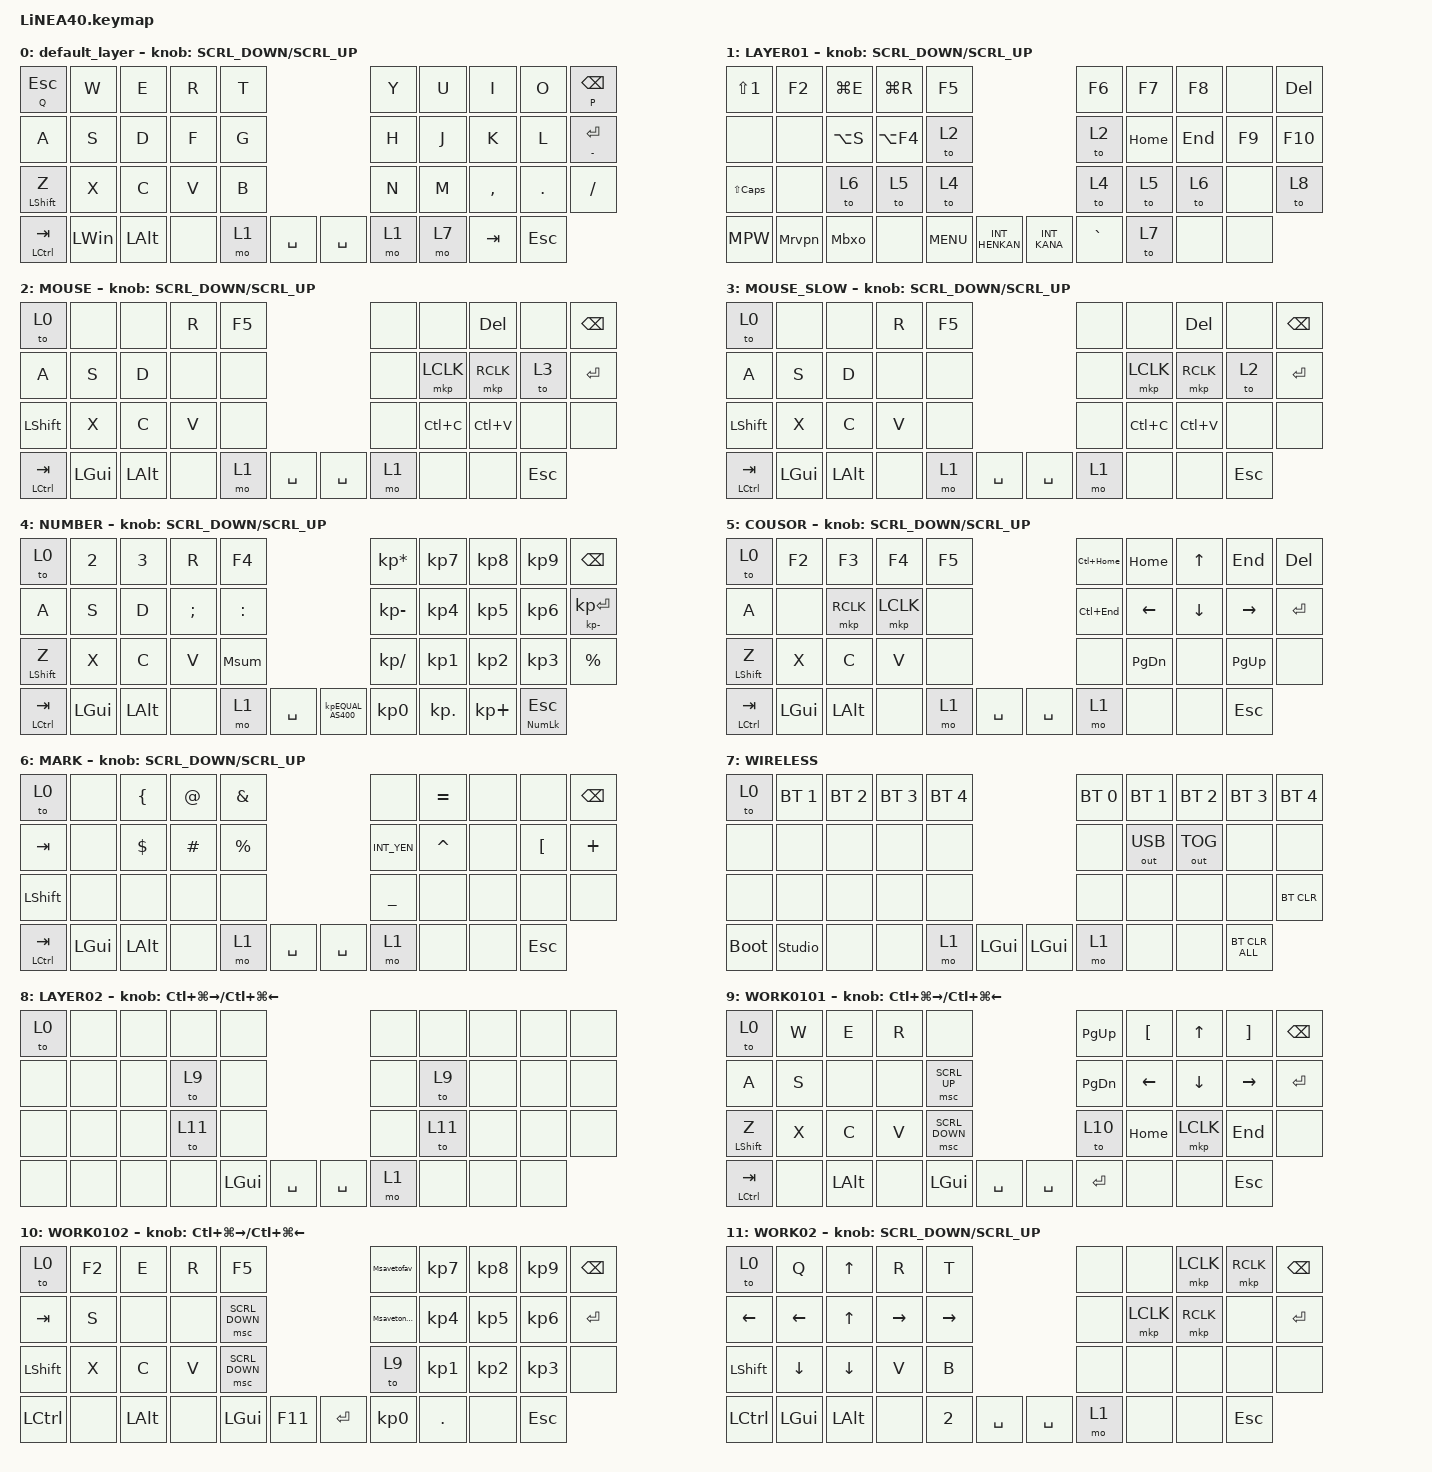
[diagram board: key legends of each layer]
#define ZMK_POINTING_DEFAULT_SCRL_VAL 150

#include <dt-bindings/zmk/input_transform.h>
#include <input/processors.dtsi>
#include <zephyr/dt-bindings/input/input-event-codes.h>
#include <behaviors.dtsi>
#include <dt-bindings/zmk/bt.h>
#include <dt-bindings/zmk/keys.h>
#include <dt-bindings/zmk/outputs.h>
#include <dt-bindings/zmk/pointing.h>

#define MOUSE 1
#define MARK 2
#define CURSOR 3
#define FUNCTION 4
#define SCROLL 5
#define WIRELESS 6

//mouse cursol

&mmv {
    delay-ms = <20>;
    trigger-period-ms = <5>;
    time-to-max-speed-ms = <100>;
    acceleration-exponent = <2>;
};

//mouse scroll

&msc {
    delay-ms = <3>;
    trigger-period-ms = <3>;
    time-to-max-speed-ms = <100>;
    acceleration-exponent = <0>;
};

/ {
    input_processors {
        zip_wheel_scaler: zip_wheel_scaler {
            compatible = "zmk,input-processor-scaler";
            #input-processor-cells = <2>;
            type = <INPUT_EV_REL>;
            codes = <INPUT_REL_WHEEL>;
            track-remainders;
        };
    };
};

&msc_input_listener {
    speed_up {
        layers = <1>;
        input-processors = <&zip_wheel_scaler 3 1>;
    };
};

&trackball_listener {
    input-processors = <&zip_xy_scaler 2 1>;  // 通常 2.0
    layer1_slow {
        layers = <1>;
        input-processors = <&zip_xy_scaler 2 5>;  // LAYER01 = 0.4
    };

    layer2_mouse {
        layers = <2>;
        input-processors = <&zip_xy_scaler 2 1>;  // MOUSE = 2.0
    };

    layer4_slow {
        layers = <3>;
        input-processors = <&zip_xy_scaler 1 10>;  // MOUSE_SLOW = 0.1
    };
};

/ {
    combos {
        compatible = "zmk,combos";

        LeftClick {
            bindings = <&mkp MB1>;
            key-positions = <16 15>;
        };

        RightClick {
            bindings = <&mkp MB2>;
            key-positions = <17 16>;
        };

        k-open01 {
            bindings = <&kp N8>;
            key-positions = <3 13>;
        };

        k-close01 {
            bindings = <&kp LEFT_PARENTHESIS>;
            key-positions = <6 16>;
        };

        k-open02 {
            bindings = <&kp RIGHT_PARENTHESIS>;
            key-positions = <13 23>;
        };

        k-close02 {
            bindings = <&kp MINUS>;
            key-positions = <16 26>;
        };

        l-enter {
            bindings = <&kp ENTER>;
            key-positions = <30 31>;
        };

        up {
            bindings = <&kp UP_ARROW>;
            key-positions = <27 28 29>;
        };

        down {
            bindings = <&kp DOWN_ARROW>;
            key-positions = <38 39 40>;
        };

        left {
            bindings = <&kp LEFT>;
            key-positions = <27 38>;
        };

        right {
            bindings = <&kp RIGHT>;
            key-positions = <29 40>;
        };

        Sedit {
            bindings = <&MSedit>;
            key-positions = <16 17 18 36>;
        };

        cut {
            bindings = <&kp LC(X)>;
            key-positions = <6 7 8>;
        };
    };

    behaviors {
        re_kp: sensor_rotate_kp {
            compatible = "zmk,behavior-sensor-rotate-var";
            #sensor-binding-cells = <2>;
            bindings = <&kp>, <&kp>;
        };

        mouse_scrl: mouse_wheel_scrl {
            compatible = "zmk,behavior-sensor-rotate-var";
            #sensor-binding-cells = <2>;
            bindings = <&msc>, <&msc>;

            tap-ms = <20>;
        };
    };

    macros {
        MPW: M01PW {
            compatible = "zmk,behavior-macro";
            #binding-cells = <0>;
            bindings = <&kp S &kp H &kp O &kp W &kp N2 &kp N4 &kp N5 &kp N6 &kp G &kp U &kp Y &kp ENTER>;
            label = "M01PW";
        };

        Mrvpn: M02rvpn {
            compatible = "zmk,behavior-macro";
            #binding-cells = <0>;
            bindings =
                <&kp LEFT_GUI>,
                <&macro_wait_time 800>,
                <&kp TAB &kp TAB &kp DOWN_ARROW &kp RIGHT &kp RIGHT &kp ENTER>,
                <&macro_wait_time 800>,
                <&kp N1 &kp N0 &kp DOT &kp N1 &kp N8 &kp N9 &kp DOT &kp N2 &kp N1 &kp N4 &kp DOT &kp N1 &kp N5 &kp N5>,
                <&macro_wait_time 400>,
                <&kp LA(N)>,
                <&macro_wait_time 1000>,
                <&kp LA(N)>,
                <&macro_wait_time 1000>,
                <&kp R &kp V &kp P &kp N &kp BSLH &kp N4 &kp N0 &kp N8 &kp N0 &kp N5 &kp N5 &kp N3 &kp TAB &kp S &kp H &kp O &kp W &kp N2 &kp N4 &kp N5 &kp N6 &kp G &kp U &kp Y &kp ENTER>;

            label = "M02RVPN";
        };

        Mbxo: M03bxo {
            compatible = "zmk,behavior-macro";
            #binding-cells = <0>;
            bindings =
                <&kp LA(TAB)>,
                <&macro_wait_time 200>,
                <&kp LA(TAB)>,
                <&macro_wait_time 200>,
                <&kp B &kp X &kp O &kp BSLH &kp N4 &kp N0 &kp N8 &kp N0 &kp N5 &kp N5 &kp N3 &kp TAB &kp S &kp H &kp O &kp W &kp N2 &kp N4 &kp N5 &kp N6 &kp G &kp U &kp Y>;

            label = "M03BXO";
        };

        Msum: M04sum {
            compatible = "zmk,behavior-macro";
            #binding-cells = <0>;
            bindings =
                <&kp INT_KANA &kp LANG_ZENKAKUHANKAKU &kp S &kp U &kp M &kp LPAR &kp RPAR &kp ENTER>,
                <&macro_wait_time 200>,
                <&kp LEFT>;

            label = "M04SUM";
        };

        Mroundup: M05roundup {
            compatible = "zmk,behavior-macro";
            #binding-cells = <0>;
            bindings =
                <&kp INT_KANA &kp LANG_ZENKAKUHANKAKU &kp R &kp O &kp U &kp N &kp D &kp U &kp P &kp LPAR &kp RPAR &kp ENTER>,
                <&macro_wait_time 200>,
                <&kp LEFT>;

            label = "M05ROUNDUP";
        };

        MSedit: M06Sedit {
            compatible = "zmk,behavior-macro";
            #binding-cells = <0>;
            bindings =
                <&kp LC(S) &kp LC(END) &kp E &kp D &kp I &kp T &kp DOT>,
                <&macro_wait_time 400>,
                <&to 10>;

            label = "M06SEDIT";
        };

        Msavetofav: Msavetofav {
            compatible = "zmk,behavior-macro";
            #binding-cells = <0>;
            bindings =
                <&kp F4 &kp LC(A) &kp LS(D) &kp COLON &kp BSLH &kp KP_NUMBER_0 &kp KP_NUMBER_2 &kp DOT &kp T &kp H &kp U &kp M &kp B &kp N &kp A &kp I &kp L &kp BSLH &kp KP_NUMBER_0 &kp KP_NUMBER_1 &kp DOT &kp M &kp O &kp V &kp E &kp T &kp O &kp F &kp A &kp V &kp ENTER &kp LA(S)>,
                <&macro_wait_time 400>,
                <&to 9>;

            label = "MSAVETOFAV";
        };

        Msavetonotfav: Msavetonotfav {
            compatible = "zmk,behavior-macro";
            #binding-cells = <0>;
            bindings =
                <&kp F4 &kp LC(A) &kp LS(D) &kp COLON &kp BSLH &kp KP_NUMBER_0 &kp KP_NUMBER_2 &kp PERIOD &kp T &kp H &kp U &kp M &kp B &kp N &kp A &kp I &kp L &kp BSLH &kp KP_NUMBER_0 &kp KP_NUMBER_2 &kp DOT &kp M &kp O &kp V &kp E &kp T &kp O &kp A &kp R &kp C &kp H &kp I &kp V &kp E &kp ENTER &kp LA(S)>,
                <&macro_wait_time 400>,
                <&to 9>;

            label = "MSAVETONOTFAV";
        };
    };

    keymap {
        compatible = "zmk,keymap";

        default_layer {
            bindings = <
&mt Q ESCAPE      &kp W         &kp E         &kp R  &kp T                          &kp Y  &kp U  &kp I      &kp O    &mt P BACKSPACE
&kp A             &kp S         &kp D         &kp F  &kp G                          &kp H  &kp J  &kp K      &kp L    &mt MINUS ENTER
&mt LEFT_SHIFT Z  &kp X         &kp C         &kp V  &kp B                          &kp N  &kp M  &kp COMMA  &kp DOT  &kp SLASH
&mt LCTRL TAB     &kp LEFT_WIN  &kp LEFT_ALT  &none  &mo 1  &kp SPACE    &kp SPACE  &mo 1         &mo 7      &kp TAB  &kp ESCAPE
            >;

            sensor-bindings = <&mouse_scrl SCRL_DOWN SCRL_UP>;
        };

        LAYER01 {
            bindings = <
&kp LS(NUMBER_1)  &kp F2  &kp LG(E)  &kp LG(R)   &kp F5                                      &kp F6     &kp F7    &kp F8   &none   &kp DELETE
&none             &none   &kp LA(S)  &kp LA(F4)  &to 2                                       &to 2      &kp HOME  &kp END  &kp F9  &kp F10
&kp LS(CAPSLOCK)  &none   &to 6      &to 5       &to 4                                       &to 4      &to 5     &to 6    &none   &to 8
&MPW              &Mrvpn  &Mbxo      &none       &kp C_MENU  &kp INT_HENKAN    &kp INT_KANA  &kp GRAVE            &to 7    &none   &none
            >;

            sensor-bindings = <&mouse_scrl SCRL_DOWN SCRL_UP>;
        };

        MOUSE {
            bindings = <
&to 0           &none         &none         &kp R  &kp F5                          &none  &none      &kp DELETE  &none  &kp BACKSPACE
&kp A           &kp S         &kp D         &none  &none                           &none  &mkp LCLK  &mkp RCLK   &to 3  &kp ENTER
&kp LEFT_SHIFT  &kp X         &kp C         &kp V  &none                           &none  &kp LC(C)  &kp LC(V)   &none  &none
&mt LCTRL TAB   &kp LEFT_GUI  &kp LEFT_ALT  &none  &mo 1   &kp SPACE    &kp SPACE  &mo 1             &none       &none  &kp ESCAPE
            >;

            sensor-bindings = <&mouse_scrl SCRL_DOWN SCRL_UP>;
        };

        MOUSE_SLOW {
            bindings = <
&to 0           &none         &none         &kp R  &kp F5                          &none  &none      &kp DELETE  &none  &kp BACKSPACE
&kp A           &kp S         &kp D         &none  &none                           &none  &mkp LCLK  &mkp RCLK   &to 2  &kp ENTER
&kp LEFT_SHIFT  &kp X         &kp C         &kp V  &none                           &none  &kp LC(C)  &kp LC(V)   &none  &none
&mt LCTRL TAB   &kp LEFT_GUI  &kp LEFT_ALT  &none  &mo 1   &kp SPACE    &kp SPACE  &mo 1             &none       &none  &kp ESCAPE
            >;

            sensor-bindings = <&mouse_scrl SCRL_DOWN SCRL_UP>;
        };

        NUMBER {
            bindings = <
&to 0             &kp NUMBER_2  &kp NUMBER_3  &kp R          &kp F4                                      &kp KP_ASTERISK  &kp KP_NUMBER_7  &kp KP_NUMBER_8  &kp KP_NUMBER_9  &kp BACKSPACE
&kp A             &kp S         &kp D         &kp SEMICOLON  &kp COLON                                   &kp KP_MINUS     &kp KP_NUMBER_4  &kp KP_NUMBER_5  &kp KP_NUMBER_6  &mt KP_MINUS KP_ENTER
&mt LEFT_SHIFT Z  &kp X         &kp C         &kp V          &Msum                                       &kp KP_SLASH     &kp KP_NUMBER_1  &kp KP_NUMBER_2  &kp KP_NUMBER_3  &kp PERCENT
&mt LCTRL TAB     &kp LEFT_GUI  &kp LEFT_ALT  &none          &mo 1      &kp SPACE    &kp KP_EQUAL_AS400  &kp KP_NUMBER_0                   &kp KP_DOT       &kp KP_PLUS      &mt KP_NUMLOCK ESCAPE
            >;

            sensor-bindings = <&mouse_scrl SCRL_DOWN SCRL_UP>;
        };

        COUSOR {
            bindings = <
&to 0                 &kp F2        &kp F3        &kp F4     &kp F5                          &kp LC(HOME)  &kp HOME       &kp UP    &kp END      &kp DEL
&kp A                 &none         &mkp RCLK     &mkp LCLK  &none                           &kp LC(END)   &kp LEFT       &kp DOWN  &kp RIGHT    &kp ENTER
&mt LEFT_SHIFT Z      &kp X         &kp C         &kp V      &none                           &none         &kp PAGE_DOWN  &none     &kp PAGE_UP  &none
&mt LEFT_CONTROL TAB  &kp LEFT_GUI  &kp LEFT_ALT  &none      &mo 1   &kp SPACE    &kp SPACE  &mo 1                        &none     &none        &kp ESCAPE
            >;

            sensor-bindings = <&mouse_scrl SCRL_DOWN SCRL_UP>;
        };

        MARK {
            bindings = <
&to 0           &none         &kp LEFT_BRACE  &kp AT_SIGN  &kp AMPERSAND                          &none           &kp EQUAL  &none  &none             &kp BACKSPACE
&kp TAB         &none         &kp DOLLAR      &kp HASH     &kp PERCENT                            &kp INT_YEN     &kp CARET  &none  &kp LEFT_BRACKET  &kp PLUS
&kp LEFT_SHIFT  &none         &none           &none        &none                                  &kp UNDERSCORE  &none      &none  &none             &none
&mt LCTRL TAB   &kp LEFT_GUI  &kp LEFT_ALT    &none        &mo 1          &kp SPACE    &kp SPACE  &mo 1                      &none  &none             &kp ESCAPE
            >;

            sensor-bindings = <&mouse_scrl SCRL_DOWN SCRL_UP>;
        };

        WIRELESS {
            bindings = <
&to 0        &bt BT_SEL 1    &bt BT_SEL 2  &bt BT_SEL 3  &bt BT_SEL 4                                &bt BT_SEL 0  &bt BT_SEL 1  &bt BT_SEL 2  &bt BT_SEL 3  &bt BT_SEL 4
&none        &none           &none         &none         &none                                       &none         &out OUT_USB  &out OUT_TOG  &none         &none
&none        &none           &none         &none         &none                                       &none         &none         &none         &none         &bt BT_CLR
&bootloader  &studio_unlock  &none         &none         &mo 1         &kp LEFT_GUI    &kp LEFT_GUI  &mo 1                       &none         &none         &bt BT_CLR_ALL
            >;
        };

        LAYER02 {
            bindings = <
&to 0  &none  &none  &none   &none                                 &none  &none   &none  &none  &none
&none  &none  &none  &to 9   &none                                 &none  &to 9   &none  &none  &none
&none  &none  &none  &to 11  &none                                 &none  &to 11  &none  &none  &none
&none  &none  &none  &none   &kp LEFT_GUI  &kp SPACE    &kp SPACE  &mo 1          &none  &none  &none
            >;

            sensor-bindings = <&inc_dec_kp LC(LG(RIGHT)) LC(LG(LEFT))>;
        };

        WORK0101 {
            bindings = <
&to 0             &kp W  &kp E         &kp R  &none                                   &kp PAGE_UP    &kp LEFT_BRACKET  &kp UP_ARROW    &kp RIGHT_BRACKET  &kp BACKSPACE
&kp A             &kp S  &none         &none  &msc SCRL_UP                            &kp PAGE_DOWN  &kp LEFT          &kp DOWN_ARROW  &kp RIGHT          &kp ENTER
&mt LEFT_SHIFT Z  &kp X  &kp C         &kp V  &msc SCRL_DOWN                          &to 10         &kp HOME          &mkp LCLK       &kp END            &none
&mt LCTRL TAB     &none  &kp LEFT_ALT  &none  &kp LEFT_GUI    &kp SPACE    &kp SPACE  &kp ENTER                        &none           &none              &kp ESCAPE
            >;

            sensor-bindings = <&inc_dec_kp LC(LG(RIGHT)) LC(LG(LEFT))>;
        };

        WORK0102 {
            bindings = <
&to 0           &kp F2  &kp E         &kp R  &kp F5                                &Msavetofav      &kp KP_NUMBER_7  &kp KP_NUMBER_8  &kp KP_NUMBER_9  &kp BACKSPACE
&kp TAB         &kp S   &none         &none  &msc SCRL_DOWN                        &Msavetonotfav   &kp KP_NUMBER_4  &kp KP_NUMBER_5  &kp KP_NUMBER_6  &kp ENTER
&kp LEFT_SHIFT  &kp X   &kp C         &kp V  &msc SCRL_DOWN                        &to 9            &kp KP_NUMBER_1  &kp KP_NUMBER_2  &kp KP_NUMBER_3  &none
&kp LCTRL       &none   &kp LEFT_ALT  &none  &kp LEFT_GUI    &kp F11    &kp ENTER  &kp KP_NUMBER_0                   &kp PERIOD       &none            &kp ESCAPE
            >;

            sensor-bindings = <&inc_dec_kp LC(LG(RIGHT)) LC(LG(LEFT))>;
        };

        WORK02 {
            bindings = <
&to 0           &kp Q         &kp UP_ARROW    &kp R      &kp T                                 &none  &none      &mkp LCLK  &mkp RCLK  &kp BACKSPACE
&kp LEFT        &kp LEFT      &kp UP_ARROW    &kp RIGHT  &kp RIGHT                             &none  &mkp LCLK  &mkp RCLK  &none      &kp ENTER
&kp LEFT_SHIFT  &kp DOWN      &kp DOWN_ARROW  &kp V      &kp B                                 &none  &none      &none      &none      &none
&kp LCTRL       &kp LEFT_GUI  &kp LEFT_ALT    &none      &kp NUMBER_2  &kp SPACE    &kp SPACE  &mo 1             &none      &none      &kp ESCAPE
            >;

            sensor-bindings = <&mouse_scrl SCRL_DOWN SCRL_UP>;
        };
    };
};
